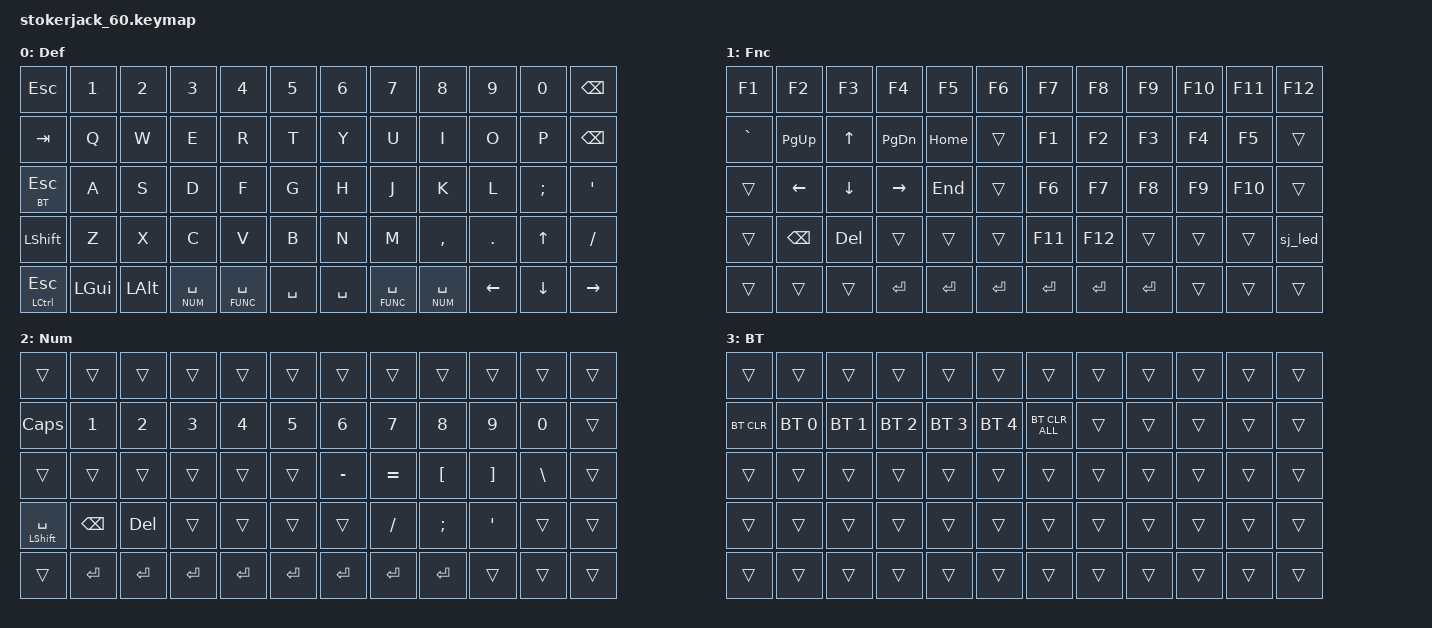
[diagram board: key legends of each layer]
/* MKB-inspired keymap adapted to Stokerjack's five physical rows. */
#include <behaviors.dtsi>
#include <dt-bindings/zmk/keys.h>
#include <dt-bindings/zmk/bt.h>

#define DEF 0
#define FUNC 1
#define NUM 2
#define BT 3

&mt {
    flavor = "balanced";
    tapping-term-ms = <280>;
    quick-tap-ms = <175>;
    require-prior-idle-ms = <150>;
};

/ {
    keymap {
        compatible = "zmk,keymap";

        default_layer {
            label = "Def";
            bindings = <
                &kp ESC         &kp N1          &kp N2          &kp N3          &kp N4          &kp N5              &kp N6          &kp N7          &kp N8          &kp N9          &kp N0          &kp BKSP
                &kp TAB         &kp Q           &kp W           &kp E           &kp R           &kp T               &kp Y           &kp U           &kp I           &kp O           &kp P           &kp BKSP
                &lt BT ESC      &kp A           &kp S           &kp D           &kp F           &kp G               &kp H           &kp J           &kp K           &kp L           &kp SEMI        &kp SQT
                &kp LSHFT       &kp Z           &kp X           &kp C           &kp V           &kp B               &kp N           &kp M           &kp COMMA       &kp DOT         &kp UP          &kp FSLH
                &mt LCTL ESC    &kp LGUI        &kp LALT        &lt NUM SPACE   &lt FUNC SPACE  &kp SPACE           &kp SPACE       &lt FUNC SPACE  &lt NUM SPACE   &kp LEFT        &kp DOWN        &kp RIGHT
            >;
        };

        function_layer {
            label = "Fnc";
            bindings = <
                &kp F1          &kp F2          &kp F3          &kp F4          &kp F5          &kp F6              &kp F7          &kp F8          &kp F9          &kp F10         &kp F11         &kp F12
                &kp GRAVE       &kp PG_UP       &kp UP          &kp PG_DN       &kp HOME        &trans              &kp F1          &kp F2          &kp F3          &kp F4          &kp F5          &trans
                &trans          &kp LEFT        &kp DOWN        &kp RIGHT       &kp END         &trans              &kp F6          &kp F7          &kp F8          &kp F9          &kp F10         &trans
                &trans          &kp BKSP        &kp DEL         &trans          &trans          &trans              &kp F11         &kp F12         &trans          &trans          &trans          &sj_led
                &trans          &trans          &trans          &kp ENTER       &kp ENTER       &kp ENTER           &kp ENTER       &kp ENTER       &kp ENTER       &trans          &trans          &trans
            >;
        };

        num_layer {
            label = "Num";
            bindings = <
                &trans          &trans          &trans          &trans          &trans          &trans              &trans          &trans          &trans          &trans          &trans          &trans
                &kp CAPS        &kp N1          &kp N2          &kp N3          &kp N4          &kp N5              &kp N6          &kp N7          &kp N8          &kp N9          &kp N0          &trans
                &trans          &trans          &trans          &trans          &trans          &trans              &kp MINUS       &kp EQUAL       &kp LBKT        &kp RBKT        &kp BSLH        &trans
                &mt LSHFT SPACE &kp BACKSPACE   &kp DEL         &trans          &trans          &trans              &trans          &kp FSLH        &kp SEMI        &kp SQT         &trans          &trans
                &trans          &kp ENTER       &kp ENTER       &kp ENTER       &kp ENTER       &kp ENTER           &kp ENTER       &kp ENTER       &kp ENTER       &trans          &trans          &trans
            >;
        };

        bt_layer {
            label = "BT";
            bindings = <
                &trans          &trans          &trans          &trans          &trans          &trans              &trans          &trans          &trans          &trans          &trans          &trans
                &bt BT_CLR      &bt BT_SEL 0    &bt BT_SEL 1    &bt BT_SEL 2    &bt BT_SEL 3    &bt BT_SEL 4        &bt BT_CLR_ALL  &trans          &trans          &trans          &trans          &trans
                &trans          &trans          &trans          &trans          &trans          &trans              &trans          &trans          &trans          &trans          &trans          &trans
                &trans          &trans          &trans          &trans          &trans          &trans              &trans          &trans          &trans          &trans          &trans          &trans
                &trans          &trans          &trans          &trans          &trans          &trans              &trans          &trans          &trans          &trans          &trans          &trans
            >;
        };
    };
};
